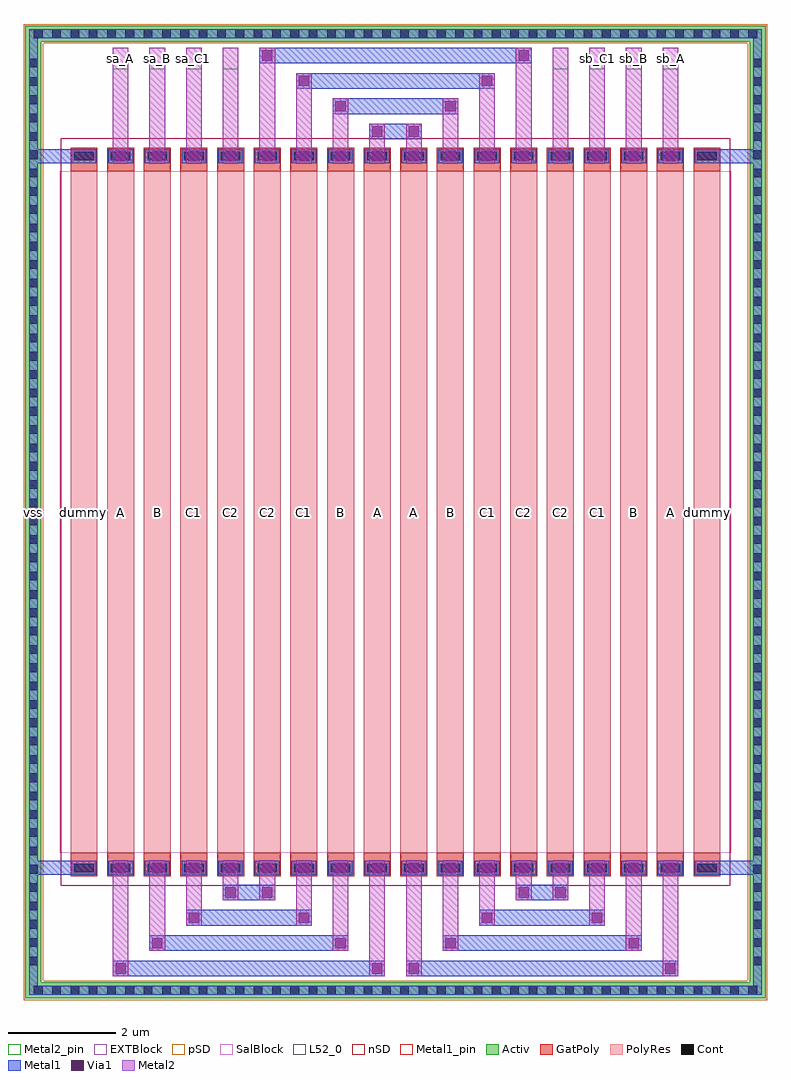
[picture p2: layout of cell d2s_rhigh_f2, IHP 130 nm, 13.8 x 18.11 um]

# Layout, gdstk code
import gdstk
lib = gdstk.Library(unit=1e-6, precision=1e-09)
def R(c, l, rs):  # rectangles x0, y0, x1, y1
    for r in rs: c.add(gdstk.rectangle(r[:2], r[2:], *l))
def A(c, l, x, y, w, h, nx, ny, dx, dy):  # array of equal rectangles
    R(c, l, [(x+i*dx, y+j*dy, x+i*dx+w, y+j*dy+h) for i in range(nx) for j in range(ny)])
Activ = (1, 0)
GatPoly = (5, 0)
Cont = (6, 0)
nSD = (7, 0)
Metal1 = (8, 0)
Metal1_pin = (8, 2)
Metal2 = (10, 0)
Metal2_pin = (10, 2)
pSD = (14, 0)
Via1 = (19, 0)
SalBlock = (28, 0)
L52_0 = (52, 0)
EXTBlock = (111, 0)
PolyRes = (128, 0)

rhigh = lib.new_cell('rhigh')
R(rhigh, GatPoly, [(0,-0.43,0.5,0), (0,12.65,0.5,13.08)])
R(rhigh, Cont, [(0.07,-0.36,0.43,-0.2), (0.07,12.85,0.43,13.01)])
R(rhigh, nSD, [(-0.18,-0.61,0.68,0.18), (-0.18,0,0.68,12.65), (-0.18,0,0.68,12.65), (-0.18,12.47,0.68,13.26)])
R(rhigh, Metal1, [(0.02,-0.41,0.48,-0.15), (0.02,12.8,0.48,13.06)])
R(rhigh, Metal1_pin, [(0.02,-0.41,0.48,-0.15), (0.02,12.8,0.48,13.06)])
R(rhigh, pSD, [(-0.18,-0.61,0.68,0.18), (-0.18,0,0.68,12.65), (-0.18,0,0.68,12.65), (-0.18,12.47,0.68,13.26)])
R(rhigh, SalBlock, [(-0.2,0,0.7,12.65)])
R(rhigh, L52_0, [(0,0,0.5,12.65)])
R(rhigh, EXTBlock, [(-0.18,-0.61,0.68,0.18), (-0.2,0,0.7,12.65), (-0.18,12.47,0.68,13.26)])
R(rhigh, PolyRes, [(0,0,0.5,12.65)])
rhigh.add(gdstk.Label('rhigh r=37720.000', (0.25,6.325), layer=63, texttype=0))
rhigh.add(gdstk.Label('rhigh', (0.25,6.325), layer=52, texttype=0))

d2s_rhigh_f2 = lib.new_cell('d2s_rhigh_f2')
R(d2s_rhigh_f2, Activ, [(-0.84,-2.7,12.9,-2.4), (-0.84,-2.7,-0.54,15.35), (12.6,-2.7,12.9,15.35), (-0.84,-2.29,-0.54,14.94), (12.6,-2.29,12.9,14.94), (-0.84,15.05,12.9,15.35)])
A(d2s_rhigh_f2, Cont, -0.68, -2.63, 0.16, 0.16, 40, 2, 0.34, 17.75)
A(d2s_rhigh_f2, Cont, -0.77, -2.085, 0.16, 0.16, 1, 50, 0, 0.34)
A(d2s_rhigh_f2, Cont, 12.67, -2.085, 0.16, 0.16, 1, 50, 0, 0.34)
R(d2s_rhigh_f2, Metal1, [(-0.77,-2.63,-0.61,15.28), (-0.73,-2.63,12.79,-2.47), (12.67,-2.63,12.83,15.28), (0.785,-2.29,5.835,-2), (6.225,-2.29,11.275,-2), (-0.77,-2.135,-0.61,14.785), (12.67,-2.135,12.83,14.785), (1.465,-1.82,5.155,-1.53), (6.905,-1.82,10.595,-1.53), (2.145,-1.35,4.475,-1.06), (7.585,-1.35,9.915,-1.06), (2.825,-0.88,3.795,-0.59), (8.265,-0.88,9.235,-0.59), (-0.77,-0.41,0.48,-0.15), (11.58,-0.41,12.83,-0.15), (-0.77,12.8,0.48,13.06), (11.58,12.8,12.83,13.06), (5.545,13.24,6.515,13.53), (4.865,13.71,7.195,14), (4.185,14.18,7.875,14.47), (3.505,14.65,8.555,14.94), (-0.73,15.12,12.79,15.28)])
R(d2s_rhigh_f2, Metal1_pin, [(-0.77,5.825,-0.61,6.825)])
A(d2s_rhigh_f2, Metal2, 0.785, 12.785, 0.29, 2.155, 5, 1, 0.68, 0)
A(d2s_rhigh_f2, Metal2, 8.265, 12.785, 0.29, 2.155, 5, 1, 0.68, 0)
R(d2s_rhigh_f2, Metal2, [(0.785,-2.29,1.075,-0.135), (5.545,-2.29,5.835,-0.135), (6.225,-2.29,6.515,-0.135), (10.985,-2.29,11.275,-0.135), (1.465,-1.82,1.755,-0.135), (4.865,-1.82,5.155,-0.135), (6.905,-1.82,7.195,-0.135), (10.305,-1.82,10.595,-0.135), (2.145,-1.35,2.435,-0.135), (4.185,-1.35,4.475,-0.135), (7.585,-1.35,7.875,-0.135), (9.625,-1.35,9.915,-0.135), (2.825,-0.88,3.115,-0.135), (3.505,-0.88,3.795,-0.135), (8.265,-0.88,8.555,-0.135), (8.945,-0.88,9.235,-0.135), (4.185,12.785,4.475,14.47), (4.865,12.785,5.155,14), (5.545,12.785,5.835,13.53), (6.225,12.785,6.515,13.53), (6.905,12.785,7.195,14), (7.585,12.785,7.875,14.47)])
A(d2s_rhigh_f2, Metal2_pin, 0.785, 14.54, 0.29, 0.4, 4, 1, 0.68, 0)
A(d2s_rhigh_f2, Metal2_pin, 8.945, 14.54, 0.29, 0.4, 4, 1, 0.68, 0)
R(d2s_rhigh_f2, pSD, [(-0.87,-2.73,12.93,-2.37), (-0.87,-2.73,-0.51,15.38), (12.57,-2.73,12.93,15.38), (-0.87,-2.32,-0.51,14.97), (12.57,-2.32,12.93,14.97), (-0.87,15.02,12.93,15.38)])
A(d2s_rhigh_f2, Via1, 0.835, -0.375, 0.19, 0.19, 16, 2, 0.68, 13.21)
R(d2s_rhigh_f2, Via1, [(0.835,-2.24,1.025,-2.05), (5.595,-2.24,5.785,-2.05), (6.275,-2.24,6.465,-2.05), (11.035,-2.24,11.225,-2.05), (1.515,-1.77,1.705,-1.58), (4.915,-1.77,5.105,-1.58), (6.955,-1.77,7.145,-1.58), (10.355,-1.77,10.545,-1.58), (2.195,-1.3,2.385,-1.11), (4.235,-1.3,4.425,-1.11), (7.635,-1.3,7.825,-1.11), (9.675,-1.3,9.865,-1.11), (2.875,-0.83,3.065,-0.64), (3.555,-0.83,3.745,-0.64), (8.315,-0.83,8.505,-0.64), (8.995,-0.83,9.185,-0.64), (5.595,13.29,5.785,13.48), (6.275,13.29,6.465,13.48), (4.915,13.76,5.105,13.95), (6.955,13.76,7.145,13.95), (4.235,14.23,4.425,14.42), (7.635,14.23,7.825,14.42), (3.555,14.7,3.745,14.89), (8.315,14.7,8.505,14.89)])
d2s_rhigh_f2.add(gdstk.Reference(rhigh, (0,0)))
d2s_rhigh_f2.add(gdstk.Reference(rhigh, (0.68,0)))
d2s_rhigh_f2.add(gdstk.Reference(rhigh, (1.36,0)))
d2s_rhigh_f2.add(gdstk.Reference(rhigh, (2.04,0)))
d2s_rhigh_f2.add(gdstk.Reference(rhigh, (2.72,0)))
d2s_rhigh_f2.add(gdstk.Reference(rhigh, (3.4,0)))
d2s_rhigh_f2.add(gdstk.Reference(rhigh, (4.08,0)))
d2s_rhigh_f2.add(gdstk.Reference(rhigh, (4.76,0)))
d2s_rhigh_f2.add(gdstk.Reference(rhigh, (5.44,0)))
d2s_rhigh_f2.add(gdstk.Reference(rhigh, (6.12,0)))
d2s_rhigh_f2.add(gdstk.Reference(rhigh, (6.8,0)))
d2s_rhigh_f2.add(gdstk.Reference(rhigh, (7.48,0)))
d2s_rhigh_f2.add(gdstk.Reference(rhigh, (8.16,0)))
d2s_rhigh_f2.add(gdstk.Reference(rhigh, (8.84,0)))
d2s_rhigh_f2.add(gdstk.Reference(rhigh, (9.52,0)))
d2s_rhigh_f2.add(gdstk.Reference(rhigh, (10.2,0)))
d2s_rhigh_f2.add(gdstk.Reference(rhigh, (10.88,0)))
d2s_rhigh_f2.add(gdstk.Reference(rhigh, (11.56,0)))
d2s_rhigh_f2.add(gdstk.Label('vss', (-0.69,6.325), layer=8, texttype=25))
d2s_rhigh_f2.add(gdstk.Label('sa_A', (0.93,14.74), layer=10, texttype=25))
d2s_rhigh_f2.add(gdstk.Label('sb_A', (11.13,14.74), layer=10, texttype=25))
d2s_rhigh_f2.add(gdstk.Label('sa_B', (1.61,14.74), layer=10, texttype=25))
d2s_rhigh_f2.add(gdstk.Label('sb_B', (10.45,14.74), layer=10, texttype=25))
d2s_rhigh_f2.add(gdstk.Label('sa_C1', (2.29,14.74), layer=10, texttype=25))
d2s_rhigh_f2.add(gdstk.Label('sb_C1', (9.77,14.74), layer=10, texttype=25))
d2s_rhigh_f2.add(gdstk.Label('sa_C2', (2.97,14.74), layer=10, texttype=25))
d2s_rhigh_f2.add(gdstk.Label('sb_C2', (9.09,14.74), layer=10, texttype=25))
d2s_rhigh_f2.add(gdstk.Label('dummy', (0.25,6.325), layer=63, texttype=0))
d2s_rhigh_f2.add(gdstk.Label('A', (0.93,6.325), layer=63, texttype=0))
d2s_rhigh_f2.add(gdstk.Label('B', (1.61,6.325), layer=63, texttype=0))
d2s_rhigh_f2.add(gdstk.Label('C1', (2.29,6.325), layer=63, texttype=0))
d2s_rhigh_f2.add(gdstk.Label('C2', (2.97,6.325), layer=63, texttype=0))
d2s_rhigh_f2.add(gdstk.Label('C2', (3.65,6.325), layer=63, texttype=0))
d2s_rhigh_f2.add(gdstk.Label('C1', (4.33,6.325), layer=63, texttype=0))
d2s_rhigh_f2.add(gdstk.Label('B', (5.01,6.325), layer=63, texttype=0))
d2s_rhigh_f2.add(gdstk.Label('A', (5.69,6.325), layer=63, texttype=0))
d2s_rhigh_f2.add(gdstk.Label('A', (6.37,6.325), layer=63, texttype=0))
d2s_rhigh_f2.add(gdstk.Label('B', (7.05,6.325), layer=63, texttype=0))
d2s_rhigh_f2.add(gdstk.Label('C1', (7.73,6.325), layer=63, texttype=0))
d2s_rhigh_f2.add(gdstk.Label('C2', (8.41,6.325), layer=63, texttype=0))
d2s_rhigh_f2.add(gdstk.Label('C2', (9.09,6.325), layer=63, texttype=0))
d2s_rhigh_f2.add(gdstk.Label('C1', (9.77,6.325), layer=63, texttype=0))
d2s_rhigh_f2.add(gdstk.Label('B', (10.45,6.325), layer=63, texttype=0))
d2s_rhigh_f2.add(gdstk.Label('A', (11.13,6.325), layer=63, texttype=0))
d2s_rhigh_f2.add(gdstk.Label('dummy', (11.81,6.325), layer=63, texttype=0))

lib.write_gds('d2s_rhigh_f2.gds')
